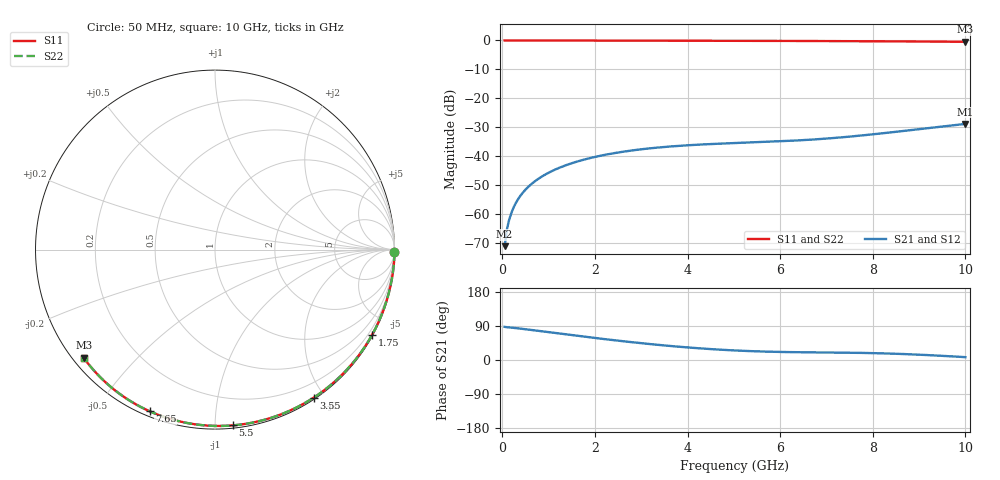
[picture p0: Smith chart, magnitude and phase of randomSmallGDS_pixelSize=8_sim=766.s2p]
! freq	dB(S11)	phase(S11)	dB(S12)	phase(S12)
!  dB(S21)	phase(S21)	dB(S22)	phase(S22)
!S-par simulation data
#  GHz  S  DB  R 50
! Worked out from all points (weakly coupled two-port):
!   200 points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, 50 MHz to 10 GHz, reference 50 ohm
!   highest |S21| = -28.88 dB at 10 GHz (marker M1); lowest = -71.2 dB at 50 MHz (marker M2)
!   lowest |S11| = -0.5 dB at 10 GHz (marker M3), VSWR 37.31, Z = 1.51 - j17.9 ohm
!   |S11| at or under -10 dB: nowhere
!   |S22| runs from -0.5 to 0.0 dB; largest |S21 - S12| = 0
!   S11 on the Smith chart (normalised r, x): 50 MHz: open; 1.75 GHz: 0.03, -3.94; 3.55 GHz: 0.02, -1.87; 5.5 GHz: 0.02, -1.11; 7.65 GHz: 0.02, -0.67; 10 GHz: 0.03, -0.36
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0.05  -0.00 -0.8  -71.19 87.5  -71.19 87.5  -0.00 -0.8
0.1  -0.00 -1.7  -65.36 86.5  -65.36 86.5  -0.00 -1.7
0.15  -0.00 -2.5  -61.94 85.9  -61.94 85.9  -0.00 -2.5
0.2  -0.00 -3.3  -59.50 85.4  -59.50 85.4  -0.00 -3.3
0.25  -0.00 -4.1  -57.59 84.8  -57.59 84.8  -0.00 -4.1
0.35  -0.00 -5.8  -54.70 83.4  -54.70 83.4  -0.00 -5.8
0.5  -0.01 -8.3  -51.64 81.2  -51.64 81.2  -0.01 -8.3
0.7  -0.01 -11.5  -48.77 78.1  -48.77 78.1  -0.01 -11.5
1  -0.02 -16.4  -45.78 73.4  -45.78 73.4  -0.02 -16.4
1.35  -0.03 -22.1  -43.32 68.0  -43.32 68.0  -0.03 -22.1
1.75  -0.04 -28.5  -41.30 61.9  -41.30 61.9  -0.04 -28.5
2.5  -0.05 -40.3  -38.77 51.0  -38.77 51.0  -0.05 -40.3
3.4  -0.07 -54.1  -37.00 39.5  -37.00 39.5  -0.07 -54.1
3.55  -0.08 -56.3  -36.79 37.8  -36.79 37.8  -0.08 -56.3
4.3  -0.10 -67.3  -36.01 30.4  -36.01 30.4  -0.10 -67.3
5.05  -0.12 -77.9  -35.49 25.0  -35.49 25.0  -0.12 -77.9
5.5  -0.14 -84.1  -35.22 22.8  -35.22 22.8  -0.14 -84.1
6.7  -0.19 -100.0  -34.29 20.1  -34.29 20.1  -0.19 -100.0
7.65  -0.25 -112.0  -33.05 19.0  -33.05 19.0  -0.25 -112.0
8.35  -0.30 -120.7  -31.88 17.0  -31.88 17.0  -0.30 -120.6
9.2  -0.38 -130.9  -30.34 12.9  -30.34 12.9  -0.38 -130.9
10  -0.47 -140.5  -28.88 7.5  -28.88 7.5  -0.47 -140.5
